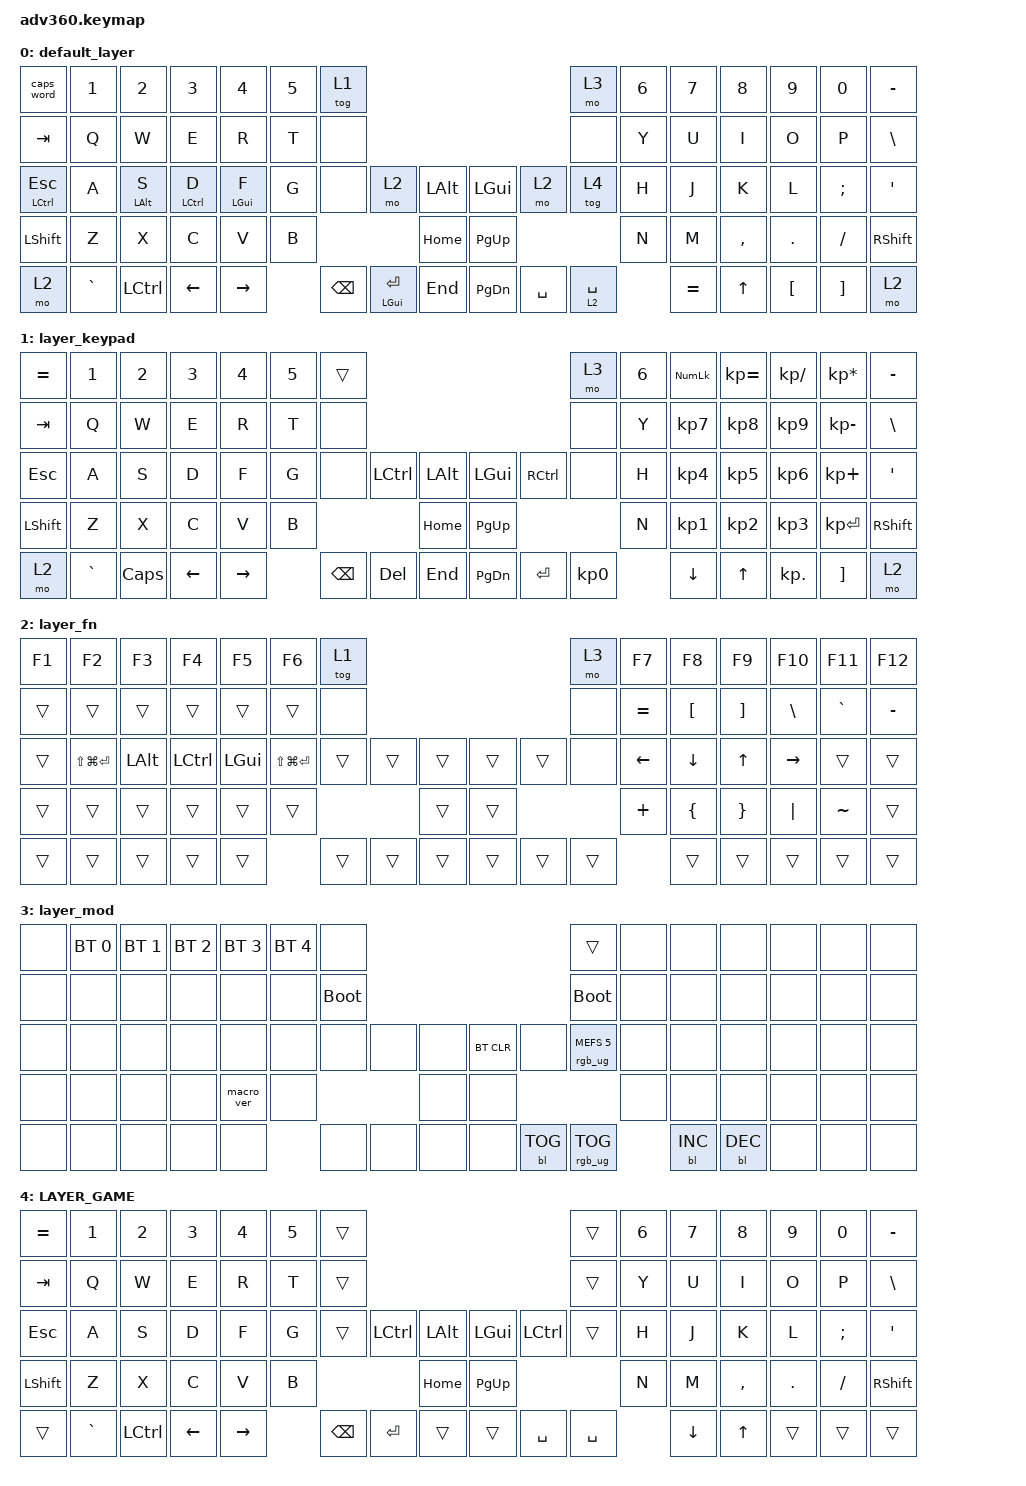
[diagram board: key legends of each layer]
/*
 * Copyright (c) 2020 The ZMK Contributors
 *
 * SPDX-License-Identifier: MIT
 */
/* THIS FILE WAS GENERATED!
 *
 * This file was generated automatically. You may or may not want to
 * edit it directly.
 */

#include <behaviors.dtsi>
#include <dt-bindings/zmk/backlight.h>
#include <dt-bindings/zmk/bt.h>
#include <dt-bindings/zmk/keys.h>
#include <dt-bindings/zmk/rgb.h>

&mt {
    flavor = "tap-preferred";
    tapping-term-ms = <250>;
};

/ {
    behaviors {
        #include "macros.dtsi"
    #include "version.dtsi"

        hm: homerow_mods {
            compatible = "zmk,behavior-hold-tap";
            label = "HOMEROW_MODS";
            #binding-cells = <2>;
            tapping-term-ms = <200>;
            quick_tap_ms = <175>;
            flavor = "tap-preferred";
            bindings = <&kp>, <&kp>;
        };
    };

    keymap {
        compatible = "zmk,keymap";

        default_layer {
            bindings = <
&caps_word        &kp N1     &kp N2          &kp N3              &kp N4      &kp N5  &tog 1                                                                  &mo 3        &kp N6  &kp N7     &kp N8     &kp N9    &kp N0    &kp MINUS
&kp TAB           &kp Q      &kp W           &kp E               &kp R       &kp T   &none                                                                   &none        &kp Y   &kp U      &kp I      &kp O     &kp P     &kp BSLH
&mt LCTRL ESCAPE  &kp A      &mt LEFT_ALT S  &mt LEFT_CONTROL D  &mt LGUI F  &kp G   &none          &mo 2                &kp LALT      &kp LGUI   &mo 2      &tog 4       &kp H   &kp J      &kp K      &kp L     &kp SEMI  &kp SQT
&kp LSHFT         &kp Z      &kp X           &kp C               &kp V       &kp B                                       &kp HOME      &kp PG_UP                          &kp N   &kp M      &kp COMMA  &kp DOT   &kp FSLH  &kp RSHFT
&mo 2             &kp GRAVE  &kp LCTRL       &kp LEFT            &kp RIGHT           &kp BACKSPACE  &mt LEFT_GUI RETURN  &kp END       &kp PG_DN  &kp SPACE  &lt 2 SPACE          &kp EQUAL  &kp UP     &kp LBKT  &kp RBKT  &mo 2
            >;
        };

        layer_keypad {
            bindings = <
&kp EQUAL  &kp N1     &kp N2    &kp N3    &kp N4     &kp N5  &trans                                                   &mo 3      &kp N6  &kp KP_NUM  &kp KP_EQUAL  &kp KP_DIVIDE  &kp KP_MULTIPLY  &kp MINUS
&kp TAB    &kp Q      &kp W     &kp E     &kp R      &kp T   &none                                                    &none      &kp Y   &kp KP_N7   &kp KP_N8     &kp KP_N9      &kp KP_MINUS     &kp BSLH
&kp ESC    &kp A      &kp S     &kp D     &kp F      &kp G   &none     &kp LCTRL  &kp LALT      &kp LGUI   &kp RCTRL  &none      &kp H   &kp KP_N4   &kp KP_N5     &kp KP_N6      &kp KP_PLUS      &kp SQT
&kp LSHFT  &kp Z      &kp X     &kp C     &kp V      &kp B                        &kp HOME      &kp PG_UP                        &kp N   &kp KP_N1   &kp KP_N2     &kp KP_N3      &kp KP_ENTER     &kp RSHFT
&mo 2      &kp GRAVE  &kp CAPS  &kp LEFT  &kp RIGHT          &kp BSPC  &kp DEL    &kp END       &kp PG_DN  &kp ENTER  &kp KP_N0          &kp DOWN    &kp UP        &kp KP_DOT     &kp RBKT         &mo 2
            >;
        };

        layer_fn {
            bindings = <
&kp F1  &kp F2             &kp F3        &kp F4            &kp F5        &kp F6             &tog 1                                      &mo 3   &kp F7     &kp F8            &kp F9             &kp F10        &kp F11    &kp F12
&trans  &trans             &trans        &trans            &trans        &trans             &none                                       &none   &kp EQUAL  &kp LEFT_BRACKET  &kp RIGHT_BRACKET  &kp BACKSLASH  &kp GRAVE  &kp MINUS
&trans  &kp LS(LG(ENTER))  &kp LEFT_ALT  &kp LEFT_CONTROL  &kp LEFT_GUI  &kp LS(LG(ENTER))  &trans  &trans  &trans      &trans  &trans  &none   &kp LEFT   &kp DOWN          &kp UP_ARROW       &kp RIGHT      &trans     &trans
&trans  &trans             &trans        &trans            &trans        &trans                             &trans      &trans                  &kp PLUS   &kp LEFT_BRACE    &kp RIGHT_BRACE    &kp PIPE       &kp TILDE  &trans
&trans  &trans             &trans        &trans            &trans                           &trans  &trans  &trans      &trans  &trans  &trans             &trans            &trans             &trans         &trans     &trans
            >;
        };

        layer_mod {
            bindings = <
&none  &bt BT_SEL 0  &bt BT_SEL 1  &bt BT_SEL 2  &bt BT_SEL 3  &bt BT_SEL 4  &none                                                  &trans                  &none  &none       &none       &none  &none  &none
&none  &none         &none         &none         &none         &none         &bootloader                                            &bootloader             &none  &none       &none       &none  &none  &none
&none  &none         &none         &none         &none         &none         &none        &none  &none      &bt BT_CLR  &none       &rgb_ug RGB_MEFS_CMD 5  &none  &none       &none       &none  &none  &none
&none  &none         &none         &none         &macro_ver    &none                             &none      &none                                           &none  &none       &none       &none  &none  &none
&none  &none         &none         &none         &none                       &none        &none  &none      &none       &bl BL_TOG  &rgb_ug RGB_TOG                &bl BL_INC  &bl BL_DEC  &none  &none  &none
            >;
        };

        LAYER_GAME {
            bindings = <
&kp EQUAL  &kp N1     &kp N2     &kp N3    &kp N4     &kp N5  &trans                                                         &trans     &kp N6  &kp N7    &kp N8        &kp N9   &kp N0    &kp MINUS
&kp TAB    &kp Q      &kp W      &kp E     &kp R      &kp T   &trans                                                         &trans     &kp Y   &kp U     &kp I         &kp O    &kp P     &kp BSLH
&kp ESC    &kp A      &kp S      &kp D     &kp F      &kp G   &trans         &kp LCTRL   &kp LALT      &kp LGUI   &kp LCTRL  &trans     &kp H   &kp J     &kp K         &kp L    &kp SEMI  &kp SQT
&kp LSHFT  &kp Z      &kp X      &kp C     &kp V      &kp B                              &kp HOME      &kp PG_UP                        &kp N   &kp M     &kp COMMA     &kp DOT  &kp FSLH  &kp RSHFT
&trans     &kp GRAVE  &kp LCTRL  &kp LEFT  &kp RIGHT          &kp BACKSPACE  &kp RETURN  &trans        &trans     &kp SPACE  &kp SPACE          &kp DOWN  &kp UP_ARROW  &trans   &trans    &trans
            >;
        };
    };
};
